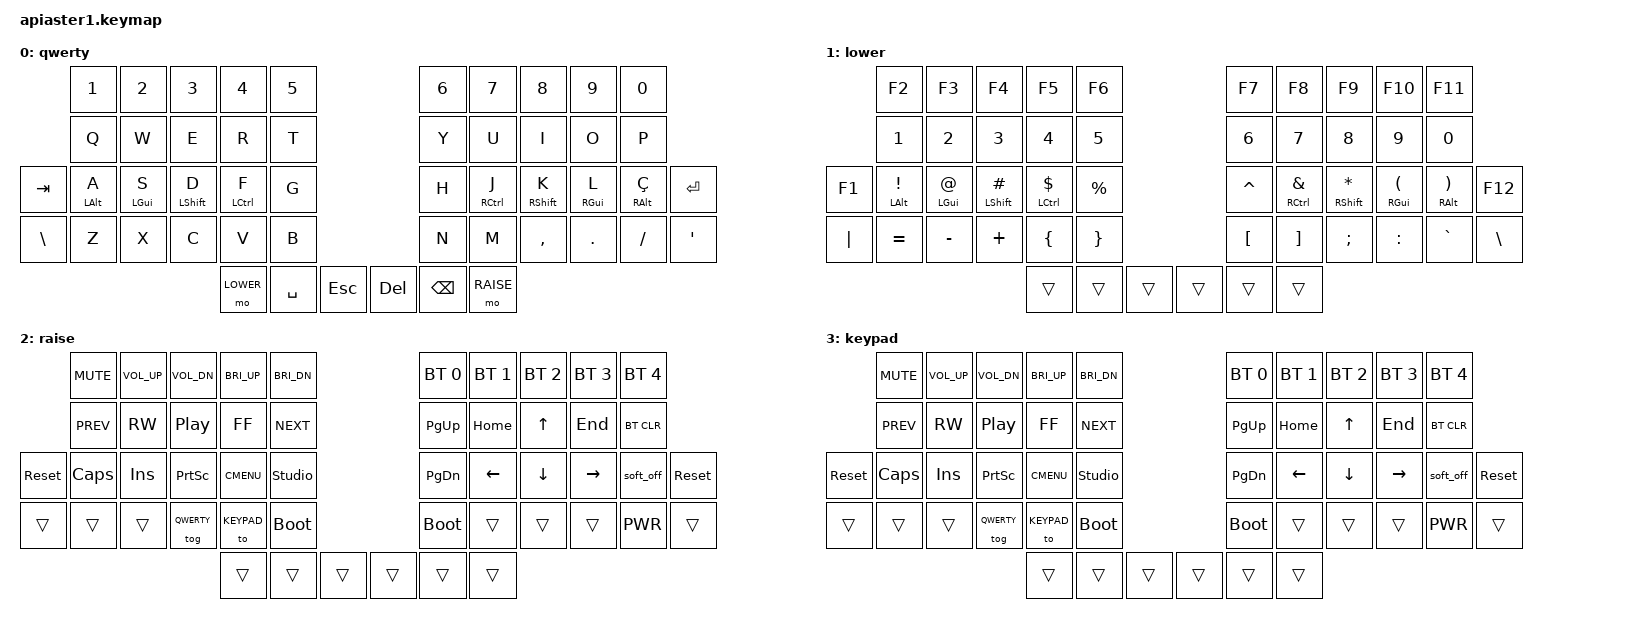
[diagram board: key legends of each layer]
#include <behaviors.dtsi>
#include <dt-bindings/zmk/keys.h>
#include <dt-bindings/zmk/bt.h>

#define QWERTY 0
#define LOWER 1
#define RAISE 2
#define KEYPAD 3


#define KEYS_L 0 1 2 3 4 10 11 12 13 14 20 21 22 23 24 25 32 33 34 35 36 37
#define KEYS_R 5 6 7 8 9 15 16 17 18 19 26 27 28 29 30 31 38 39 40 41 42 43
#define THUMBS_L 44 45 46
#define THUMBS_R 47 48 49

/ {    
    macros {
        wasdt: wasd_type {
            compatible = "zmk,behavior-macro";
            #binding-cells = <0>;
            bindings
                = <&macro_tap &tog WASD &tog WASD_TYPE>;
        };
    };

    behaviors {
        hl: home_row_hold_tap_left {
            compatible = "zmk,behavior-hold-tap";
            #binding-cells = <2>;
            flavor = "balanced";
            tapping-term-ms = <280>;
            quick-tap-ms = <175>;                // repeat on tap-into-hold
            require-prior-idle-ms = <150>;
            bindings = <&kp>, <&kp>;
            hold-trigger-key-positions = <KEYS_R THUMBS_R>;
            hold-trigger-on-release;             // delay positional check until key-release
        };

        hr: home_row_hold_tap_right {
            compatible = "zmk,behavior-hold-tap";
            #binding-cells = <2>;
            flavor = "balanced";
            tapping-term-ms = <280>;
            quick-tap-ms = <175>;                // repeat on tap-into-hold
            require-prior-idle-ms = <150>;
            bindings = <&kp>, <&kp>;
            hold-trigger-key-positions = <KEYS_L THUMBS_L>;
            hold-trigger-on-release;             // delay positional check until key-release
        };

        td_rst: reset_tap_dance {
            compatible = "zmk,behavior-tap-dance";
            #binding-cells = <0>;
            tapping-term-ms = <200>;
            bindings = <&sys_reset>, <&bootloader>;
        };
    };

    keymap {
        compatible = "zmk,keymap";
        
        qwerty_layer {
            display-name = "qwerty";
// ------------------------------------------------------------------------------------------------------------
//         |   1   |   2   |    3    |   4    |   5   |              |  6  |   7    |    8    |   9   |   0   |       
//         |   Q   |   W   |    E    |   R    |   T   |              |  Y  |   U    |    I    |   O   |   P   |        
// |  TAB  | ALT/A | GUI/S | SHIFT/D | CTRL/F |   G   |              |  H  | CTRL/J | SHIFT/K | GUI/L | ALT/Ç | ENTER |
// |   \   |   Z   |   X   |    C    |   V    |   B   |              |  N  |   M    |    ,    |   .   |   /   |   '   |
//                                   | LOWER  | SPACE | ESC |  | DEL |BACK | RAISE  | 
            bindings = <
          &kp N1     &kp N2     &kp N3      &kp N4      &kp N5                      &kp N6    &kp N7      &kp N8      &kp N9     &kp N0
          &kp Q      &kp W      &kp E       &kp R       &kp T                       &kp Y     &kp U       &kp I       &kp O      &kp P
&kp TAB   &hl LALT A &hl LGUI S &hl LSHFT D &hl LCTRL F &kp G                       &kp H     &hr RCTRL J &hr RSHFT K &hr RGUI L &hr RALT Ç &kp ENTER
&kp BSLH &kp Z      &kp X      &kp C       &kp V       &kp B                       &kp N     &kp M       &kp COMMA   &kp DOT    &kp FSLH      &kp SQT
                                            &mo LOWER   &kp SPACE &kp ESC &kp DEL &kp BSPC &mo RAISE
            >;
        };

        lower_layer {
            display-name = "lower";
// ------------------------------------------------------------------------------------------------------------
// |       |  F1 |  F2 |  F3  |  F4  |  F5  |                   |  F6  |  F7   |  F8   |  F9  |  F10  |       |
// |       |  1  |  2  |  3   |  4   |  5   |                   |  6   |  7    |  8    |  9   |   0   |       |
// |   `   |  !  |  @  |  #   |  $   |  %   |                   |  ^   |  &    |  *    |  (   |   )   |  F11  |
// |   |   |  =  |  -  |  +   |  {   |  }   |                   |  [   |  ]    |  ;    |  :   |   \   |  F12  |
//               |     |      |      |      |        |  |       |      |       |       |      |
            bindings = <
         &kp F2        &kp F3      &kp F4         &kp F5         &kp F6                  &kp F7    &kp F8         &kp F9          &kp F10       &kp F11   
         &kp N1        &kp N2      &kp N3         &kp N4         &kp N5                  &kp N6    &kp N7         &kp N8          &kp N9        &kp N0    
&kp F1   &hl LALT EXCL &hl LGUI AT &hl LSHFT HASH &hl LCTRL DLLR &kp PRCNT               &kp CARET &hr RCTRL AMPS &hr RSHFT ASTRK &hr RGUI LPAR &hr RALT RPAR &kp F12
&kp PIPE &kp EQUAL     &kp MINUS   &kp PLUS       &kp LBRC       &kp RBRC                &kp LBKT  &kp RBKT       &kp SEMI        &kp COLON     &kp GRAVE     &kp BSLH 
                                                   &trans         &trans    &trans &trans &trans    &trans     
            >;
        };

        raise_layer {
            display-name = "raise";
// ------------------------------------------------------------------------------------------------------------
//         | MUTE | VOL+   |  VOL-   | BRI+        |  BRI-  |                |  BT 0 | BT 1 |  BT 2 | BT 3 | BT 4     | 
//         | PREV | REWIND | PAUSE   | FASTFORWARD |  NEXT  |                | PGUP  | HOME |   ^   | END  | BT CLEAR |       
// | reset | CAPS | INS    | PRNTSCR | MENU        | studio |                | PGDN  |   <- |   v   |  ->  |  off     | reset |
// |       |      |        | QWERTY  | WASD        |  boot  |                | boot  |      |       |      |  POWER   | reset |
//                                   |             |        |      |  |      |       |      |
            bindings = <
          &kp C_MUTE &kp C_VOL_UP &kp C_VOL_DN &kp C_BRI_UP &kp  C_BRI_DN                &bt BT_SEL 0 &bt BT_SEL 1 &bt BT_SEL 2 &bt BT_SEL 3 &bt BT_SEL 4                 
          &kp C_PREV &kp C_RW     &kp C_PP     &kp C_FF     &kp C_NEXT                   &kp PG_UP    &kp HOME     &kp UP       &kp END      &bt BT_CLR
&sys_reset &kp CLCK   &kp INS      &kp PSCRN    &kp K_CMENU  &studio_unlock               &kp PG_DN    &kp LEFT     &kp DOWN     &kp RIGHT    &soft_off   &sys_reset
&trans    &trans     &trans       &tog QWERTY  &to KEYPAD    &bootloader                  &bootloader  &trans       &trans       &trans       &kp C_PWR   &trans
                                               &trans       &trans         &trans &trans &trans       &trans 
            >;
        };
		
        keypad_layer {
            display-name = "keypad";
// ------------------------------------------------------------------------------------------------------------
//         | MUTE | VOL+   |  VOL-   | BRI+        |  BRI-  |                |  BT 0 | BT 1 |  BT 2 | BT 3 | BT 4     | 
//         | PREV | REWIND | PAUSE   | FASTFORWARD |  NEXT  |                | PGUP  | HOME |   ^   | END  | BT CLEAR |       
// | reset | CAPS | INS    | PRNTSCR | MENU        | studio |                | PGDN  |   <- |   v   |  ->  |  off     | reset |
// |       |      |        | QWERTY  | WASD        |  boot  |                | boot  |      |       |      |  POWER   | reset |
//                                   |             |        |      |  |      |       |      |
            bindings = <
          &kp C_MUTE &kp C_VOL_UP &kp C_VOL_DN &kp C_BRI_UP &kp  C_BRI_DN                &bt BT_SEL 0 &bt BT_SEL 1 &bt BT_SEL 2 &bt BT_SEL 3 &bt BT_SEL 4                 
          &kp C_PREV &kp C_RW     &kp C_PP     &kp C_FF     &kp C_NEXT                   &kp PG_UP    &kp HOME     &kp UP       &kp END      &bt BT_CLR
&sys_reset &kp CLCK   &kp INS      &kp PSCRN    &kp K_CMENU  &studio_unlock               &kp PG_DN    &kp LEFT     &kp DOWN     &kp RIGHT    &soft_off   &sys_reset
&trans    &trans     &trans       &tog QWERTY  &to KEYPAD    &bootloader                  &bootloader  &trans       &trans       &trans       &kp C_PWR   &trans
                                               &trans       &trans         &trans &trans &trans       &trans 
            >;
        };		
		
		
		

        extra1 {
            status = "reserved";
        };

        extra2 {
            status = "reserved";
        };

        extra3 {
            status = "reserved";
        };

        extra4 {
            status = "reserved";
        };

        extra5 {
            status = "reserved";
        };
    };
};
